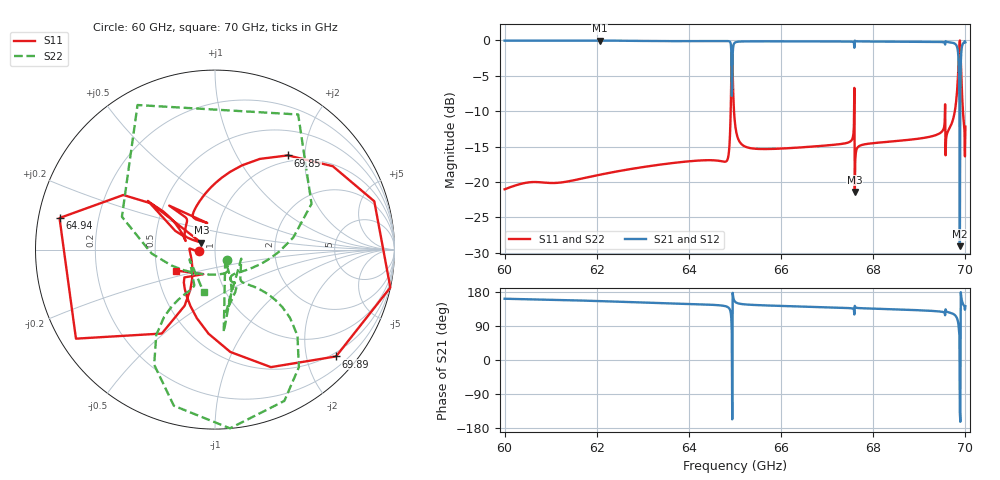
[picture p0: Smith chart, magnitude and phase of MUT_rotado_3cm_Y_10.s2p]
! TOUCHSTONE file generated by CST MICROWAVE STUDIO
! Date and time: Thu Feb 22 11:54:30 2024
! Project name: material_angular.cst
! Parameters = {Y=2}
! Header version: 2018
! Port assignment regex: !\s*Touchstone port\s*([0-9]+)\s*=\s*(CST MWS port|CST DS port)\s*([0-9]+|Zmin|Zmax)\s*\(\"(.*)\"\)(\s*mode\s*([0-9]+))?.*
! Touchstone port assignment:
! Touchstone port 1 = CST MWS port 1 ("")
! Touchstone port 2 = CST MWS port 2 ("")
# GHz S MA R 376.7
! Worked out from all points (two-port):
!   1001 points, 60 GHz to 70 GHz, reference 376.7 ohm
!   highest |S21| = -0.03 dB at 62.06 GHz (marker M1); lowest = -29.1 dB at 69.88 GHz (marker M2)
!   |S21| within 3 dB of the highest: start of sweep to 64.92 GHz; 64.95 GHz to 69.85 GHz (4.905 GHz wide, 7.28 % of centre)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
!   lowest |S11| = -21.4 dB at 67.6 GHz (marker M3), VSWR 1.19, Z = 323 + j24.6 ohm
!   |S11| at or under -10 dB: start of sweep to 64.91 GHz; 64.98 GHz to 67.58 GHz (2.605 GHz wide, 3.93 % of centre); 67.59 GHz to 69.56 GHz (1.964 GHz wide, 2.86 % of centre)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
!   |S22| runs from -21.4 to 0.0 dB; largest |S21 - S12| = 0
!   S11 on the Smith chart (normalised r, x): 60 GHz: 0.84, -0.01; 64.94 GHz: 0.06, +0.10; 69.85 GHz: 0.89, +1.67; 69.89 GHz: 0.42, -2.59; 70 GHz: 0.63, -0.16
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60  0.0887 -174.8  0.9961 161.7  0.9961 161.7  0.0887 -41.9
61.67  0.1055 -175.6  0.9961 156.9  0.9961 156.9  0.106 -51.2
62.06  0.1123 -177.5  0.997 155.5  0.997 155.5  0.1127 -52.2
63.34  0.132 178.7  0.9895 150.6  0.9895 150.6  0.1319 -57.4
64.8  0.1393 -164.2  0.9902 141.8  0.9902 141.8  0.1393 -92.3
64.88  0.1821 -133.7  0.9838 135.2  0.9838 135.2  0.1817 -136.0
64.94  0.8839 168.5  0.4676 -156.6  0.4676 -156.6  0.8839 58.4
64.98  0.3116 144.4  0.9503 157.7  0.9503 157.7  0.3116 -8.9
65  0.259 147.1  0.9659 154.0  0.9659 154.0  0.259 -19.0
65.24  0.1766 161.1  0.9844 146.5  0.9844 146.5  0.177 -48.3
66.67  0.1776 161.0  0.9841 140.2  0.9841 140.2  0.1776 -60.6
67.6  0.08483 153.5  0.9964 142.8  0.9964 142.8  0.08483 -47.9
68.34  0.1924 151.3  0.9813 134.2  0.9813 134.2  0.1924 -63.0
69.69  0.2526 116.1  0.9676 124.0  0.9676 124.0  0.2527 -48.2
69.8  0.3724 89.4  0.9281 114.5  0.9281 114.5  0.3724 -40.4
69.82  0.441 79.0  0.8975 109.6  0.8975 109.6  0.441 -39.9
69.85  0.6632 52.3  0.748 93.0  0.748 93.0  0.6632 -46.2
69.88  0.9994 -12.2  0.03515 -138.7  0.03515 -138.7  0.9994 -85.2
69.89  0.8994 -41.4  0.4372 -163.1  0.4372 -163.1  0.8995 -104.8
69.93  0.3958 -104.7  0.9184 154.0  0.9184 154.0  0.3959 -127.3
69.95  0.3047 -121.1  0.9525 147.3  0.9525 147.3  0.3048 -124.3
70  0.2457 -151.6  0.9694 141.7  0.9694 141.7  0.2457 -104.9
